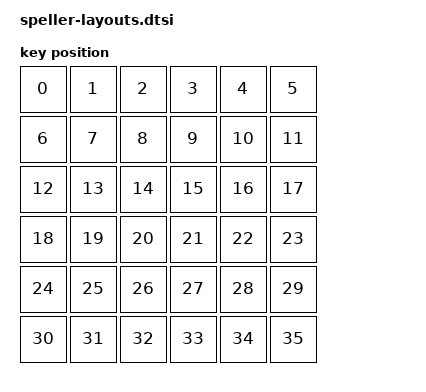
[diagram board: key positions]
#include <physical_layouts.dtsi>

/ {
    physical_layout0: physical_layout_0 {
        compatible = "zmk,physical-layout";
        display-name = "Default Layout";

        keys  //                     w   h    x    y     rot    rx    ry
            = <&key_physical_attrs 100 100    0    0       0     0     0>
            , <&key_physical_attrs 100 100  100    0       0     0     0>
            , <&key_physical_attrs 100 100  200    0       0     0     0>
            , <&key_physical_attrs 100 100  300    0       0     0     0>
            , <&key_physical_attrs 100 100  400    0       0     0     0>
            , <&key_physical_attrs 100 100  500    0       0     0     0>
            , <&key_physical_attrs 100 100    0  100       0     0     0>
            , <&key_physical_attrs 100 100  100  100       0     0     0>
            , <&key_physical_attrs 100 100  200  100       0     0     0>
            , <&key_physical_attrs 100 100  300  100       0     0     0>
            , <&key_physical_attrs 100 100  400  100       0     0     0>
            , <&key_physical_attrs 100 100  500  100       0     0     0>
            , <&key_physical_attrs 100 100    0  200       0     0     0>
            , <&key_physical_attrs 100 100  100  200       0     0     0>
            , <&key_physical_attrs 100 100  200  200       0     0     0>
            , <&key_physical_attrs 100 100  300  200       0     0     0>
            , <&key_physical_attrs 100 100  400  200       0     0     0>
            , <&key_physical_attrs 100 100  500  200       0     0     0>
            , <&key_physical_attrs 100 100    0  300       0     0     0>
            , <&key_physical_attrs 100 100  100  300       0     0     0>
            , <&key_physical_attrs 100 100  200  300       0     0     0>
            , <&key_physical_attrs 100 100  300  300       0     0     0>
            , <&key_physical_attrs 100 100  400  300       0     0     0>
            , <&key_physical_attrs 100 100  500  300       0     0     0>
            , <&key_physical_attrs 100 100    0  400       0     0     0>
            , <&key_physical_attrs 100 100  100  400       0     0     0>
            , <&key_physical_attrs 100 100  200  400       0     0     0>
            , <&key_physical_attrs 100 100  300  400       0     0     0>
            , <&key_physical_attrs 100 100  400  400       0     0     0>
            , <&key_physical_attrs 100 100  500  400       0     0     0>
            , <&key_physical_attrs 100 100    0  500       0     0     0>
            , <&key_physical_attrs 100 100  100  500       0     0     0>
            , <&key_physical_attrs 100 100  200  500       0     0     0>
            , <&key_physical_attrs 100 100  300  500       0     0     0>
            , <&key_physical_attrs 100 100  400  500       0     0     0>
            , <&key_physical_attrs 100 100  500  500       0     0     0>
            ;
    };
};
